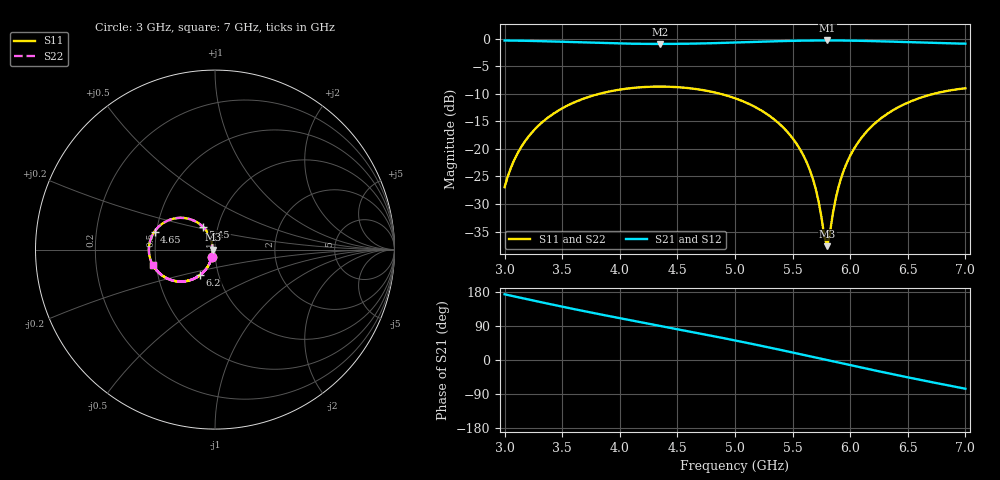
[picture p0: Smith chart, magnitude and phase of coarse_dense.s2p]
! yapnr rf: line-osh-m-w0p70-l30-m-eq-em528, footprint re-simulated (optimization grid)
! spec sha256 7b6dca186f67ffe80401c38c1661462f2ee6b0123bc5c257b6d00ebfec3f2405
! 2 ports renormalized to 50 ohm, e^(+jwt) convention
# GHz S RI R 50
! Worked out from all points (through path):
!   161 points, 3 GHz to 7 GHz, reference 50 ohm
!   highest |S21| = -0.29 dB at 5.8 GHz (marker M1); lowest = -0.9 dB at 4.35 GHz (marker M2)
!   group delay of S21, straight-line fit = 173 ps
!   lowest |S11| = -37.7 dB at 5.8 GHz (marker M3), VSWR 1.03, Z = 48.7 - j0.107 ohm
!   |S11| at or under -10 dB: start of sweep to 3.82 GHz; 4.876 GHz to 6.723 GHz (1.848 GHz wide, 31.9 % of centre)
!   |S22| runs from -37.7 to -8.7 dB; largest |S21 - S12| = 0
!   S11 on the Smith chart (normalised r, x): 3 GHz: 0.96, -0.08; 4.65 GHz: 0.49, +0.11; 5.45 GHz: 0.85, +0.22; 6.2 GHz: 0.81, -0.24; 7 GHz: 0.48, -0.09
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3  -0.0177 -0.0413  -0.9594 0.1118  -0.9594 0.1118  -0.0177 -0.0413
3.1  -0.0316 -0.0801  -0.9375 0.2215  -0.9375 0.2215  -0.0316 -0.0801
3.25  -0.0679 -0.1293  -0.8795 0.3764  -0.8795 0.3764  -0.0679 -0.1293
3.675  -0.2224 -0.1758  -0.5942 0.712  -0.5942 0.712  -0.2224 -0.1758
4  -0.3256 -0.1167  -0.3153 0.8509  -0.3153 0.8509  -0.3256 -0.1167
4.35  -0.3685 -0.000733  0.000219 0.899  0.000219 0.899  -0.3685 -0.000733
4.65  -0.3367 0.1008  0.2711 0.8637  0.2711 0.8637  -0.3367 0.1008
5  -0.2316 0.1723  0.5745 0.7259  0.5745 0.7259  -0.2316 0.1723
5.25  -0.136 0.1685  0.7634 0.555  0.7634 0.555  -0.136 0.1685
5.45  -0.0678 0.1278  0.88 0.3753  0.88 0.3753  -0.0678 0.1278
5.575  -0.0365 0.0877  0.9303 0.2468  0.9303 0.2468  -0.0365 0.0877
5.675  -0.0203 0.0499  0.9555 0.1379  0.9555 0.1379  -0.0203 0.0499
5.725  -0.0156 0.0298  0.9628 0.0822  0.9628 0.0822  -0.0156 0.0298
5.775  -0.0133 0.00925  0.9664 0.0259  0.9664 0.0259  -0.0133 0.00925
5.8  -0.013 -0.0011  0.9668 -0.00227  0.9668 -0.00227  -0.013 -0.0011
5.875  -0.0159 -0.032  0.9624 -0.0867  0.9624 -0.0867  -0.0159 -0.032
5.95  -0.024 -0.0618  0.9497 -0.17  0.9497 -0.17  -0.024 -0.0618
6.05  -0.0425 -0.0983  0.9204 -0.2776  0.9204 -0.2776  -0.0425 -0.0983
6.2  -0.0842 -0.1423  0.8526 -0.4274  0.8526 -0.4274  -0.0842 -0.1423
6.35  -0.1371 -0.1694  0.7608 -0.5585  0.7608 -0.5585  -0.1371 -0.1694
6.675  -0.2592 -0.1634  0.5084 -0.7676  0.5084 -0.7676  -0.2592 -0.1634
7  -0.3456 -0.0845  0.2218 -0.8763  0.2218 -0.8763  -0.3456 -0.0845
